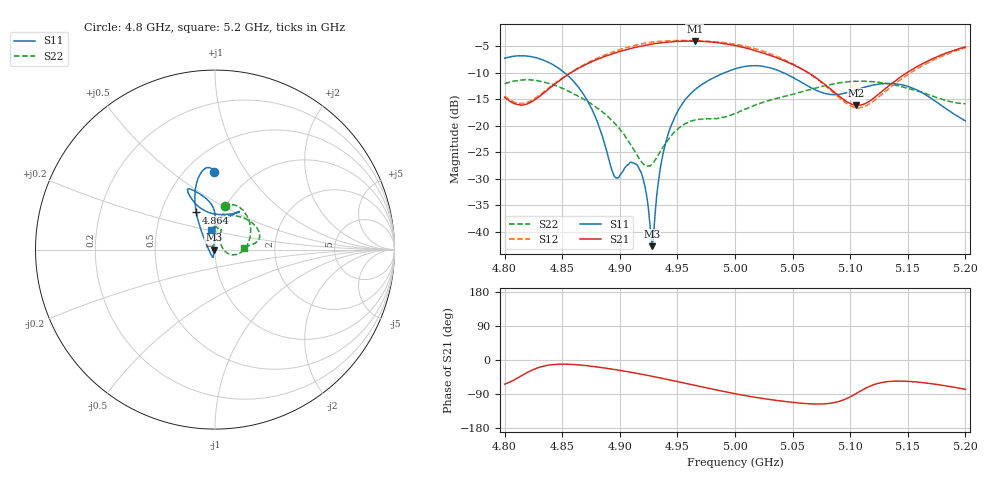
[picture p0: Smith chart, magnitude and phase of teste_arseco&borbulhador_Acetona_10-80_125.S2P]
! Network Analyzer HP8722D
! Hewlett-Packard
! Data name: Linha & Wilkinson
! Saver's name: Rodrigo Anjos
! Comments: Teste da utilização de aquisição
! continua pelo VNA HP8722D
! Time and date: 25/4/2025 16:18
!  Frequency  S11  S21  S12  S22
# HZ  S  MA R 50
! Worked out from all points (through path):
!   401 points, 4.8 GHz to 5.2 GHz, reference 50 ohm
!   highest |S21| = -3.98 dB at 4.965 GHz (marker M1); lowest = -16.1 dB at 5.105 GHz (marker M2)
!   lowest |S11| = -42.8 dB at 4.928 GHz (marker M3), VSWR 1.01, Z = 49.3 - j0.0724 ohm
!   |S11| at or under -10 dB: 4.852 GHz to 4.991 GHz (138.4 MHz wide, 2.81 % of centre); 5.042 GHz to end of sweep
!   |S22| runs from -27.6 to -11.3 dB; largest |S21 - S12| = 1.2
!   S11 on the Smith chart (normalised r, x): 4.8 GHz: 0.68, +0.72; 4.864 GHz: 0.75, +0.33; 5.2 GHz: 0.94, +0.21
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4.8e9  0.4348 90.7  0.1857 -63.8  0.1906 69.6  0.2502 77.7
4.821e9  0.4539 97.3  0.1633 -31.1  0.1685 99.8  0.2713 61.1
4.864e9  0.2322 116.8  0.3495 -12.9  0.3524 121.0  0.1896 12.2
4.867e9  0.2093 118.4  0.3636 -13.7  0.3673 120.8  0.1828 8.6
4.88e9  0.1119 128.5  0.4227 -18.3  0.4326 118.4  0.1486 -5.2
4.896e9  0.03266 -165.4  0.4876 -25.2  0.5059 113.2  0.1044 -16.0
4.91e9  0.04519 -106.6  0.5383 -32.3  0.563 107.2  0.06513 -14.1
4.917e9  0.03864 -103.4  0.562 -36.4  0.5882 103.5  0.04852 -1.2
4.922e9  0.02621 -106.5  0.5757 -39.3  0.6031 101.0  0.0424 15.6
4.928e9  0.007279 -174.2  0.5921 -43.0  0.6167 97.2  0.04339 40.4
4.93e9  0.01201 123.9  0.5966 -44.3  0.6207 95.8  0.04621 47.7
4.934e9  0.03251 100.0  0.6044 -46.7  0.6289 93.3  0.05416 58.1
4.939e9  0.06371 93.0  0.6137 -49.7  0.6345 90.1  0.06643 65.4
4.946e9  0.1097 90.0  0.6227 -54.4  0.6386 85.7  0.08411 70.0
4.965e9  0.2183 91.0  0.6324 -67.0  0.6355 73.4  0.1134 71.5
5e9  0.3454 109.2  0.5743 -89.0  0.5919 50.8  0.1309 88.3
5.03e9  0.3542 115.3  0.4647 -104.2  0.4803 33.9  0.1731 85.7
5.067e9  0.226 105.3  0.3007 -115.8  0.2982 23.6  0.2224 57.3
5.105e9  0.2184 65.4  0.156 -88.9  0.1486 54.1  0.2633 25.6
5.134e9  0.2508 57.3  0.2411 -56.5  0.2266 88.7  0.2477 12.5
5.168e9  0.1889 69.4  0.4126 -61.6  0.3972 85.2  0.1961 7.0
5.2e9  0.1113 100.4  0.5551 -77.5  0.5445 70.3  0.1612 3.8
